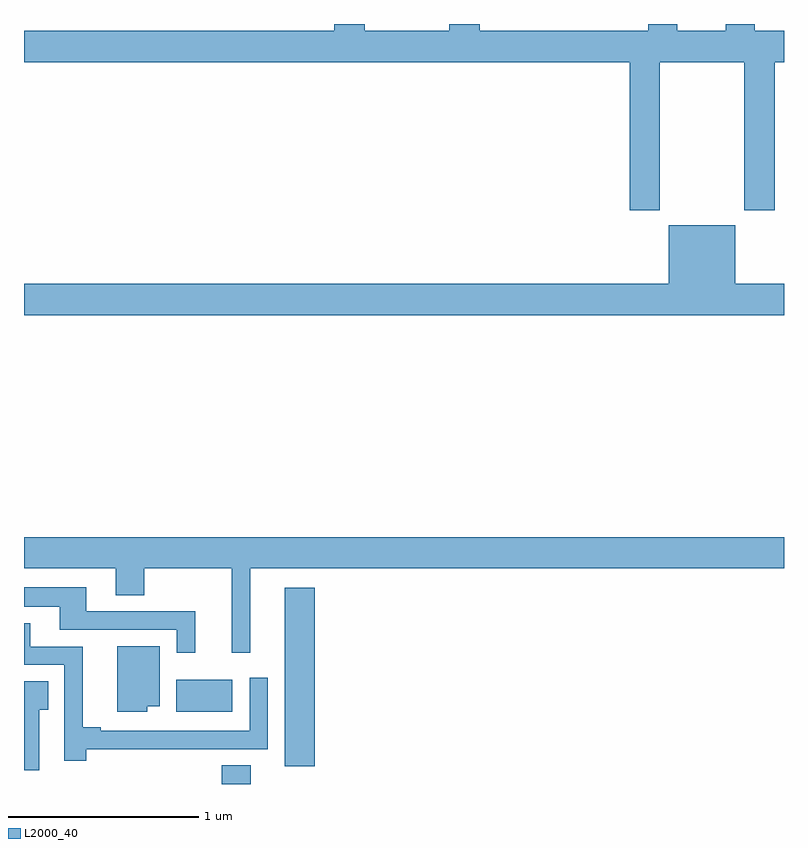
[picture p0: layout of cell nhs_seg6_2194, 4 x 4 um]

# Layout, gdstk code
import gdstk
lib = gdstk.Library(unit=1e-6, precision=1e-09)
def R(c, l, rs):  # rectangles x0, y0, x1, y1
    for r in rs: c.add(gdstk.rectangle(r[:2], r[2:], *l))
def P(c, l, *ps):  # polygons
    for p in ps: c.add(gdstk.Polygon(p, *l))
L2000_40 = (2000, 40)

nhs_seg6_2194 = lib.new_cell('nhs_seg6_2194')
R(nhs_seg6_2194, L2000_40, [(242.042,979.5,242.194,979.598), (242.372,979.593,242.531,980.533), (241.802,979.88,242.095,980.05)])
P(nhs_seg6_2194, L2000_40, [(244.347,983.3),(244.792,983.3),(244.792,982.521),(244.952,982.521),(244.952,983.3),(245,983.3),(245,983.464),(244.847,983.464),(244.847,983.5),(244.694,983.5),(244.694,983.464),(244.438,983.464),(244.438,983.5),(244.286,983.5),(244.286,983.464),(243.398,983.464),(243.398,983.5),(243.238,983.5),(243.238,983.464),(242.793,983.464),(242.793,983.5),(242.633,983.5),(242.633,983.464),(241,983.464),(241,983.3),(244.187,983.3),(244.187,982.521),(244.347,982.521)],
  [(245,982.132),(244.744,982.132),(244.744,982.441),(244.394,982.441),(244.394,982.132),(241,982.132),(241,981.968),(245,981.968)],
  [(242.192,980.636),(245,980.636),(245,980.8),(241,980.8),(241,980.636),(241.484,980.636),(241.484,980.494),(241.632,980.494),(241.632,980.636),(242.093,980.636),(242.093,980.19),(242.192,980.19)],
  [(241.901,980.409),(241.327,980.409),(241.327,980.536),(241,980.536),(241,980.432),(241.187,980.432),(241.187,980.313),(241.803,980.313),(241.803,980.19),(241.901,980.19)],
  [(241.328,979.682),(241.958,979.682),(241.958,979.683),(242.283,979.683),(242.283,980.059),(242.187,980.059),(242.187,979.779),(241.405,979.779),(241.405,979.799),(241.31,979.799),(241.31,980.223),(241.033,980.223),(241.033,980.347),(241,980.347),(241,980.127),(241.212,980.127),(241.212,979.623),(241.328,979.623)],
  [(241.648,979.91),(241.714,979.91),(241.714,980.224),(241.49,980.224),(241.49,979.88),(241.648,979.88)],
  [(241.081,979.891),(241.127,979.891),(241.127,980.042),(241,980.042),(241,979.572),(241.081,979.572)])

lib.write_gds('nhs_seg6_2194.gds')
